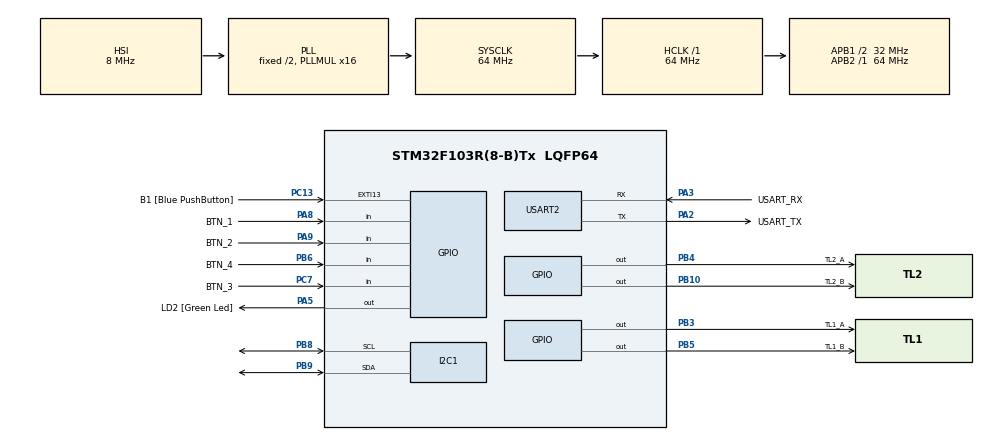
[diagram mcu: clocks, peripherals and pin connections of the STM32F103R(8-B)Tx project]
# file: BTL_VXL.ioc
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Mcu.Family=STM32F1
Mcu.Name=STM32F103R(8-B)Tx
Mcu.Package=LQFP64
NVIC.EXTI15_10_IRQn=true\:0\:0\:false\:false\:true\:true\:true
NVIC.PriorityGroup=NVIC_PRIORITYGROUP_4
NVIC.TIM2_IRQn=true\:0\:0\:false\:false\:true\:true\:true
PA13.GPIO_Label=TMS
PA13.Mode=Serial_Wire
PA13.Signal=SYS_JTMS-SWDIO
PA14.GPIO_Label=TCK
PA14.Mode=Serial_Wire
PA14.Signal=SYS_JTCK-SWCLK
PA2.GPIO_Label=USART_TX
PA2.GPIO_Mode=GPIO_MODE_AF_PP
PA2.GPIO_PuPd=GPIO_NOPULL
PA2.GPIO_Speed=GPIO_SPEED_FREQ_LOW
PA2.Mode=Asynchronous
PA2.Signal=USART2_TX
PA3.GPIO_Label=USART_RX
PA3.GPIO_Mode=GPIO_MODE_AF_PP
PA3.GPIO_PuPd=GPIO_NOPULL
PA3.GPIO_Speed=GPIO_SPEED_FREQ_LOW
PA3.Mode=Asynchronous
PA3.Signal=USART2_RX
PA5.GPIO_Label=LD2 [Green Led]
PA5.GPIO_ModeDefaultOutputPP=GPIO_MODE_OUTPUT_PP
PA5.GPIO_PuPd=GPIO_NOPULL
PA5.GPIO_Speed=GPIO_SPEED_FREQ_LOW
PA5.Signal=GPIO_Output
PA8.GPIO_Label=BTN_1
PA8.Signal=GPIO_Input
PA9.GPIO_Label=BTN_2
PA9.Signal=GPIO_Input
PB10.GPIO_Label=TL2_B
PB10.Signal=GPIO_Output
PB3.GPIO_Label=TL1_A
PB3.Signal=GPIO_Output
PB4.GPIO_Label=TL2_A
PB4.Signal=GPIO_Output
PB5.GPIO_Label=TL1_B
PB5.Signal=GPIO_Output
PB6.GPIO_Label=BTN_4
PB6.Signal=GPIO_Input
PB8.Mode=I2C
PB8.Signal=I2C1_SCL
PB9.Mode=I2C
PB9.Signal=I2C1_SDA
PC13-TAMPER-RTC.GPIO_Label=B1 [Blue PushButton]
PC13-TAMPER-RTC.GPIO_PuPd=GPIO_NOPULL
PC13-TAMPER-RTC.Signal=GPXTI13
PC14-OSC32_IN.Mode=LSE-External-Oscillator
PC14-OSC32_IN.Signal=RCC_OSC32_IN
PC15-OSC32_OUT.Mode=LSE-External-Oscillator
PC15-OSC32_OUT.Signal=RCC_OSC32_OUT
PC7.GPIO_Label=BTN_3
PC7.Signal=GPIO_Input
PD0-OSC_IN.Mode=HSE-External-Clock-Source
PD0-OSC_IN.Signal=RCC_OSC_IN
PD1-OSC_OUT.Mode=HSE-External-Clock-Source
PD1-OSC_OUT.Signal=RCC_OSC_OUT
ProjectManager.HeapSize=0x200
ProjectManager.StackSize=0x400
ProjectManager.TargetToolchain=STM32CubeIDE
RCC.AHBFreq_Value=64000000
RCC.APB1CLKDivider=RCC_HCLK_DIV2
RCC.APB1Freq_Value=32000000
RCC.APB1TimFreq_Value=64000000
RCC.APB2Freq_Value=64000000
RCC.APB2TimFreq_Value=64000000
RCC.HCLKFreq_Value=64000000
RCC.PLLMUL=RCC_PLL_MUL16
RCC.RTCClockSelection=RCC_RTCCLKSOURCE_LSE
RCC.SYSCLKFreq_VALUE=64000000
RCC.SYSCLKSource=RCC_SYSCLKSOURCE_PLLCLK
RCC.USBFreq_Value=64000000
TIM2.Period=99
TIM2.Prescaler=6399
USART2.VirtualMode=VM_ASYNC
VP_TIM2_VS_ClockSourceINT.Mode=Internal
board=NUCLEO-F103RB

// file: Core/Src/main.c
/* USER CODE BEGIN Header */
/**
  ******************************************************************************
  * @file           : main.c
  * @brief          : Main program body
  ******************************************************************************
  * @attention
  *
  * <h2><center>&copy; Copyright (c) 2026 STMicroelectronics.
  * All rights reserved.</center></h2>
  *
  * This software component is licensed by ST under BSD 3-Clause license,
  * the "License"; You may not use this file except in compliance with the
  * License. You may obtain a copy of the License at:
  *                        opensource.org/licenses/BSD-3-Clause
  *
  ******************************************************************************
  */
/* USER CODE END Header */
#include "main.h"

/* USER CODE BEGIN Includes */
#include "scheduler.h"
#include "software_timer.h"
#include "button.h"
#include "traffic_light.h"
#include "lcd.h"
#include "dht20.h"
#include "global.h"
#include "fsm_automatic.h"
#include "fsm_manual.h"
#include "fsm_tuning.h"
/* USER CODE END Includes */

I2C_HandleTypeDef hi2c1;

TIM_HandleTypeDef htim2;

UART_HandleTypeDef huart2;

void SystemClock_Config(void);
static void MX_GPIO_Init(void);
static void MX_USART2_UART_Init(void);
static void MX_I2C1_Init(void);
static void MX_TIM2_Init(void);

/* USER CODE BEGIN 0 */
void Task_10ms(void){
	timer_run();
	button_reading();
}

void Task_FSM(void) {
    fsm_automatic_run();
    fsm_manual_run();
    fsm_tuning_run();
}
/* USER CODE END 0 */

int main(void)
{

  /* MCU Configuration--------------------------------------------------------*/

  /* Reset of all peripherals, Initializes the Flash interface and the Systick. */
  HAL_Init();

  /* Configure the system clock */
  SystemClock_Config();

  /* Initialize all configured peripherals */
  MX_GPIO_Init();
  MX_USART2_UART_Init();
  MX_I2C1_Init();
  MX_TIM2_Init();
  /* USER CODE BEGIN 2 */
  HAL_TIM_Base_Start_IT(&htim2);
  initTimers();
  global_init();
  lcd_init();
  dht20_init();

  SCH_Init();
  SCH_Add_Task(Task_10ms, 0, 10);
  SCH_Add_Task(Task_FSM, 0, 10);
  SCH_Add_Task(dht20_task_run, 100, 1000);

  /* USER CODE END 2 */

  /* Infinite loop */
  while (1)
  {

  }
}

void SystemClock_Config(void)
{
  RCC_OscInitTypeDef RCC_OscInitStruct = {0};
  RCC_ClkInitTypeDef RCC_ClkInitStruct = {0};

  /** Initializes the RCC Oscillators according to the specified parameters
  * in the RCC_OscInitTypeDef structure.
  */
  RCC_OscInitStruct.OscillatorType = RCC_OSCILLATORTYPE_HSI;
  RCC_OscInitStruct.HSIState = RCC_HSI_ON;
  RCC_OscInitStruct.HSICalibrationValue = RCC_HSICALIBRATION_DEFAULT;
  RCC_OscInitStruct.PLL.PLLState = RCC_PLL_ON;
  RCC_OscInitStruct.PLL.PLLSource = RCC_PLLSOURCE_HSI_DIV2;
  RCC_OscInitStruct.PLL.PLLMUL = RCC_PLL_MUL16;
  if (HAL_RCC_OscConfig(&RCC_OscInitStruct) != HAL_OK)
  {
    Error_Handler();
  }
  /** Initializes the CPU, AHB and APB buses clocks
  */
  RCC_ClkInitStruct.ClockType = RCC_CLOCKTYPE_HCLK|RCC_CLOCKTYPE_SYSCLK
                              |RCC_CLOCKTYPE_PCLK1|RCC_CLOCKTYPE_PCLK2;
  RCC_ClkInitStruct.SYSCLKSource = RCC_SYSCLKSOURCE_PLLCLK;
  RCC_ClkInitStruct.AHBCLKDivider = RCC_SYSCLK_DIV1;
  RCC_ClkInitStruct.APB1CLKDivider = RCC_HCLK_DIV2;
  RCC_ClkInitStruct.APB2CLKDivider = RCC_HCLK_DIV1;

  if (HAL_RCC_ClockConfig(&RCC_ClkInitStruct, FLASH_LATENCY_2) != HAL_OK)
  {
    Error_Handler();
  }
}

static void MX_I2C1_Init(void)
{

  hi2c1.Instance = I2C1;
  hi2c1.Init.ClockSpeed = 100000;
  hi2c1.Init.DutyCycle = I2C_DUTYCYCLE_2;
  hi2c1.Init.OwnAddress1 = 0;
  hi2c1.Init.AddressingMode = I2C_ADDRESSINGMODE_7BIT;
  hi2c1.Init.DualAddressMode = I2C_DUALADDRESS_DISABLE;
  hi2c1.Init.OwnAddress2 = 0;
  hi2c1.Init.GeneralCallMode = I2C_GENERALCALL_DISABLE;
  hi2c1.Init.NoStretchMode = I2C_NOSTRETCH_DISABLE;
  if (HAL_I2C_Init(&hi2c1) != HAL_OK)
  {
    Error_Handler();
  }

}

static void MX_TIM2_Init(void)
{

  TIM_ClockConfigTypeDef sClockSourceConfig = {0};
  TIM_MasterConfigTypeDef sMasterConfig = {0};

  htim2.Instance = TIM2;
  htim2.Init.Prescaler = 6399;
  htim2.Init.CounterMode = TIM_COUNTERMODE_UP;
  htim2.Init.Period = 99;
  htim2.Init.ClockDivision = TIM_CLOCKDIVISION_DIV1;
  htim2.Init.AutoReloadPreload = TIM_AUTORELOAD_PRELOAD_DISABLE;
  if (HAL_TIM_Base_Init(&htim2) != HAL_OK)
  {
    Error_Handler();
  }
  sClockSourceConfig.ClockSource = TIM_CLOCKSOURCE_INTERNAL;
  if (HAL_TIM_ConfigClockSource(&htim2, &sClockSourceConfig) != HAL_OK)
  {
    Error_Handler();
  }
  sMasterConfig.MasterOutputTrigger = TIM_TRGO_RESET;
  sMasterConfig.MasterSlaveMode = TIM_MASTERSLAVEMODE_DISABLE;
  if (HAL_TIMEx_MasterConfigSynchronization(&htim2, &sMasterConfig) != HAL_OK)
  {
    Error_Handler();
  }

}

static void MX_USART2_UART_Init(void)
{

  huart2.Instance = USART2;
  huart2.Init.BaudRate = 115200;
  huart2.Init.WordLength = UART_WORDLENGTH_8B;
  huart2.Init.StopBits = UART_STOPBITS_1;
  huart2.Init.Parity = UART_PARITY_NONE;
  huart2.Init.Mode = UART_MODE_TX_RX;
  huart2.Init.HwFlowCtl = UART_HWCONTROL_NONE;
  huart2.Init.OverSampling = UART_OVERSAMPLING_16;
  if (HAL_UART_Init(&huart2) != HAL_OK)
  {
    Error_Handler();
  }

}

static void MX_GPIO_Init(void)
{
  GPIO_InitTypeDef GPIO_InitStruct = {0};

  /* GPIO Ports Clock Enable */
  __HAL_RCC_GPIOC_CLK_ENABLE();
  __HAL_RCC_GPIOD_CLK_ENABLE();
  __HAL_RCC_GPIOA_CLK_ENABLE();
  __HAL_RCC_GPIOB_CLK_ENABLE();

  /*Configure GPIO pin Output Level */
  HAL_GPIO_WritePin(LD2_GPIO_Port, LD2_Pin, GPIO_PIN_RESET);

  /*Configure GPIO pin Output Level */
  HAL_GPIO_WritePin(GPIOB, TL2_B_Pin|TL1_A_Pin|TL2_A_Pin|TL1_B_Pin, GPIO_PIN_RESET);

  /*Configure GPIO pin : B1_Pin */
  GPIO_InitStruct.Pin = B1_Pin;
  GPIO_InitStruct.Mode = GPIO_MODE_IT_RISING;
  GPIO_InitStruct.Pull = GPIO_NOPULL;
  HAL_GPIO_Init(B1_GPIO_Port, &GPIO_InitStruct);

  /*Configure GPIO pin : LD2_Pin */
  GPIO_InitStruct.Pin = LD2_Pin;
  GPIO_InitStruct.Mode = GPIO_MODE_OUTPUT_PP;
  GPIO_InitStruct.Pull = GPIO_NOPULL;
  GPIO_InitStruct.Speed = GPIO_SPEED_FREQ_LOW;
  HAL_GPIO_Init(LD2_GPIO_Port, &GPIO_InitStruct);

  /*Configure GPIO pins : TL2_B_Pin TL1_A_Pin TL2_A_Pin TL1_B_Pin */
  GPIO_InitStruct.Pin = TL2_B_Pin|TL1_A_Pin|TL2_A_Pin|TL1_B_Pin;
  GPIO_InitStruct.Mode = GPIO_MODE_OUTPUT_PP;
  GPIO_InitStruct.Pull = GPIO_NOPULL;
  GPIO_InitStruct.Speed = GPIO_SPEED_FREQ_LOW;
  HAL_GPIO_Init(GPIOB, &GPIO_InitStruct);

  /*Configure GPIO pin : BTN_3_Pin */
  GPIO_InitStruct.Pin = BTN_3_Pin;
  GPIO_InitStruct.Mode = GPIO_MODE_INPUT;
  GPIO_InitStruct.Pull = GPIO_NOPULL;
  HAL_GPIO_Init(BTN_3_GPIO_Port, &GPIO_InitStruct);

  /*Configure GPIO pins : BTN_1_Pin BTN_2_Pin */
  GPIO_InitStruct.Pin = BTN_1_Pin|BTN_2_Pin;
  GPIO_InitStruct.Mode = GPIO_MODE_INPUT;
  GPIO_InitStruct.Pull = GPIO_NOPULL;
  HAL_GPIO_Init(GPIOA, &GPIO_InitStruct);

  /*Configure GPIO pin : BTN_4_Pin */
  GPIO_InitStruct.Pin = BTN_4_Pin;
  GPIO_InitStruct.Mode = GPIO_MODE_INPUT;
  GPIO_InitStruct.Pull = GPIO_NOPULL;
  HAL_GPIO_Init(BTN_4_GPIO_Port, &GPIO_InitStruct);

  /* EXTI interrupt init*/
  HAL_NVIC_SetPriority(EXTI15_10_IRQn, 0, 0);
  HAL_NVIC_EnableIRQ(EXTI15_10_IRQn);

}

/* USER CODE BEGIN 4 */
void HAL_TIM_PeriodElapsedCallback (TIM_HandleTypeDef * htim){
	if (htim->Instance == TIM2){
		SCH_Update();
	}
}
/* USER CODE END 4 */

void Error_Handler(void)
{
  __disable_irq();
  while (1)
  {
  }
}

/************************ (C) COPYRIGHT STMicroelectronics *****END OF FILE****/
